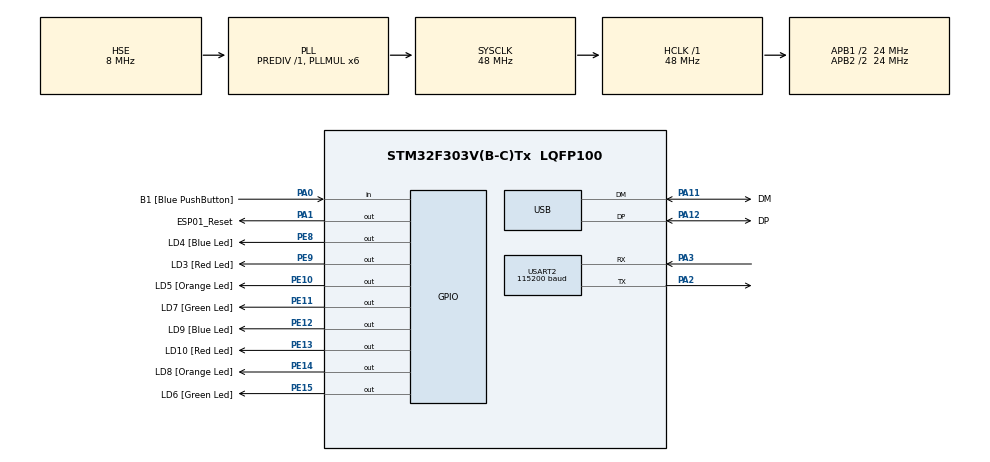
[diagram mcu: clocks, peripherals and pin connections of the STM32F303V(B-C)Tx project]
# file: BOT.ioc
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Mcu.Family=STM32F3
Mcu.Name=STM32F303V(B-C)Tx
Mcu.Package=LQFP100
NVIC.PriorityGroup=NVIC_PRIORITYGROUP_4
NVIC.USART2_IRQn=true\:0\:0\:false\:false\:true\:true
NVIC.USB_LP_CAN_RX0_IRQn=true\:0\:0\:false\:false\:true\:false
PA0.GPIO_Label=B1 [Blue PushButton]
PA0.GPIO_Mode=GPIO_MODE_INPUT
PA0.GPIO_PuPd=GPIO_NOPULL
PA0.Signal=GPIO_Input
PA1.GPIO_Label=ESP01_Reset
PA1.GPIO_PuPd=GPIO_PULLUP
PA1.PinState=GPIO_PIN_SET
PA1.Signal=GPIO_Output
PA11.GPIO_Label=DM
PA11.Mode=Device
PA11.Signal=USB_DM
PA12.GPIO_Label=DP
PA12.Mode=Device
PA12.Signal=USB_DP
PA13.GPIO_Label=SWDIO
PA13.Mode=Trace_Asynchronous_SW
PA13.Signal=SYS_JTMS-SWDIO
PA14.GPIO_Label=SWCLK
PA14.Mode=Trace_Asynchronous_SW
PA14.Signal=SYS_JTCK-SWCLK
PA2.Mode=Asynchronous
PA2.Signal=USART2_TX
PA3.Mode=Asynchronous
PA3.Signal=USART2_RX
PB3.GPIO_Label=SWO
PB3.Mode=Trace_Asynchronous_SW
PB3.Signal=SYS_JTDO-TRACESWO
PE10.GPIO_Label=LD5 [Orange Led]
PE10.GPIO_ModeDefaultOutputPP=GPIO_MODE_OUTPUT_PP
PE10.GPIO_PuPd=GPIO_NOPULL
PE10.GPIO_Speed=GPIO_SPEED_FREQ_LOW
PE10.Signal=GPIO_Output
PE11.GPIO_Label=LD7 [Green Led]
PE11.GPIO_ModeDefaultOutputPP=GPIO_MODE_OUTPUT_PP
PE11.GPIO_PuPd=GPIO_NOPULL
PE11.GPIO_Speed=GPIO_SPEED_FREQ_LOW
PE11.Signal=GPIO_Output
PE12.GPIO_Label=LD9 [Blue Led]
PE12.GPIO_ModeDefaultOutputPP=GPIO_MODE_OUTPUT_PP
PE12.GPIO_PuPd=GPIO_NOPULL
PE12.GPIO_Speed=GPIO_SPEED_FREQ_LOW
PE12.Signal=GPIO_Output
PE13.GPIO_Label=LD10 [Red Led]
PE13.GPIO_ModeDefaultOutputPP=GPIO_MODE_OUTPUT_PP
PE13.GPIO_PuPd=GPIO_NOPULL
PE13.GPIO_Speed=GPIO_SPEED_FREQ_LOW
PE13.Signal=GPIO_Output
PE14.GPIO_Label=LD8 [Orange Led]
PE14.GPIO_ModeDefaultOutputPP=GPIO_MODE_OUTPUT_PP
PE14.GPIO_PuPd=GPIO_NOPULL
PE14.GPIO_Speed=GPIO_SPEED_FREQ_LOW
PE14.Signal=GPIO_Output
PE15.GPIO_Label=LD6 [Green Led]
PE15.GPIO_ModeDefaultOutputPP=GPIO_MODE_OUTPUT_PP
PE15.GPIO_PuPd=GPIO_NOPULL
PE15.GPIO_Speed=GPIO_SPEED_FREQ_LOW
PE15.Signal=GPIO_Output
PE8.GPIO_Label=LD4 [Blue Led]
PE8.GPIO_ModeDefaultOutputPP=GPIO_MODE_OUTPUT_PP
PE8.GPIO_PuPd=GPIO_NOPULL
PE8.GPIO_Speed=GPIO_SPEED_FREQ_LOW
PE8.Signal=GPIO_Output
PE9.GPIO_Label=LD3 [Red Led]
PE9.GPIO_ModeDefaultOutputPP=GPIO_MODE_OUTPUT_PP
PE9.GPIO_PuPd=GPIO_NOPULL
PE9.GPIO_Speed=GPIO_SPEED_FREQ_LOW
PE9.Signal=GPIO_Output
PF0-OSC_IN.Mode=HSE-External-Oscillator
PF0-OSC_IN.Signal=RCC_OSC_IN
PF1-OSC_OUT.Mode=HSE-External-Oscillator
PF1-OSC_OUT.Signal=RCC_OSC_OUT
ProjectManager.HeapSize=0x200
ProjectManager.StackSize=0x400
ProjectManager.TargetToolchain=MDK-ARM V5
RCC.AHBFreq_Value=48000000
RCC.APB1CLKDivider=RCC_HCLK_DIV2
RCC.APB1Freq_Value=24000000
RCC.APB1TimFreq_Value=48000000
RCC.APB2CLKDivider=RCC_HCLK_DIV2
RCC.APB2Freq_Value=24000000
RCC.APB2TimFreq_Value=48000000
RCC.CortexFreq_Value=48000000
RCC.HCLKFreq_Value=48000000
RCC.HSE_Timout=400
RCC.HSE_VALUE=8000000
RCC.HSI_VALUE=8000000
RCC.LSE_VALUE=32768
RCC.PLLMUL=RCC_PLL_MUL6
RCC.SYSCLKFreq_VALUE=48000000
RCC.SYSCLKSourceVirtual=RCC_SYSCLKSOURCE_PLLCLK
RCC.USBFreq_Value=48000000
RCC.VDD_VALUE=3
USART2.AutoBaudRateEnableParam=UART_ADVFEATURE_AUTOBAUDRATE_DISABLE
USART2.BaudRate=115200
USART2.VirtualMode-Asynchronous=VM_ASYNC
USB_DEVICE.CLASS_NAME_FS=HID
USB_DEVICE.VirtualMode=Hid
USB_DEVICE.VirtualModeFS=Hid_FS
VP_USB_DEVICE_VS_USB_DEVICE_HID_FS.Mode=HID_FS
board=STM32F3DISCOVERY

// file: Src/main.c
/**
  ******************************************************************************
  * File Name          : main.c
  * Description        : Main program body
  ******************************************************************************
  * This notice applies to any and all portions of this file
  * that are not between comment pairs USER CODE BEGIN and
  * USER CODE END. Other portions of this file, whether
  * inserted by the user or by software development tools
  * are owned by their respective copyright owners.
  *
  * Copyright (c) 2017 STMicroelectronics International N.V.
  * All rights reserved.
  *
  * Redistribution and use in source and binary forms, with or without
  * modification, are permitted, provided that the following conditions are met:
  *
  * 1. Redistribution of source code must retain the above copyright notice,
  *    this list of conditions and the following disclaimer.
  * 2. Redistributions in binary form must reproduce the above copyright notice,
  *    this list of conditions and the following disclaimer in the documentation
  *    and/or other materials provided with the distribution.
  * 3. Neither the name of STMicroelectronics nor the names of other
  *    contributors to this software may be used to endorse or promote products
  *    derived from this software without specific written permission.
  * 4. This software, including modifications and/or derivative works of this
  *    software, must execute solely and exclusively on microcontroller or
  *    microprocessor devices manufactured by or for STMicroelectronics.
  * 5. Redistribution and use of this software other than as permitted under
  *    this license is void and will automatically terminate your rights under
  *    this license.
  *
  * THIS SOFTWARE IS PROVIDED BY STMICROELECTRONICS AND CONTRIBUTORS "AS IS"
  * AND ANY EXPRESS, IMPLIED OR STATUTORY WARRANTIES, INCLUDING, BUT NOT
  * LIMITED TO, THE IMPLIED WARRANTIES OF MERCHANTABILITY, FITNESS FOR A
  * PARTICULAR PURPOSE AND NON-INFRINGEMENT OF THIRD PARTY INTELLECTUAL PROPERTY
  * RIGHTS ARE DISCLAIMED TO THE FULLEST EXTENT PERMITTED BY LAW. IN NO EVENT
  * SHALL STMICROELECTRONICS OR CONTRIBUTORS BE LIABLE FOR ANY DIRECT, INDIRECT,
  * INCIDENTAL, SPECIAL, EXEMPLARY, OR CONSEQUENTIAL DAMAGES (INCLUDING, BUT NOT
  * LIMITED TO, PROCUREMENT OF SUBSTITUTE GOODS OR SERVICES; LOSS OF USE, DATA,
  * OR PROFITS; OR BUSINESS INTERRUPTION) HOWEVER CAUSED AND ON ANY THEORY OF
  * LIABILITY, WHETHER IN CONTRACT, STRICT LIABILITY, OR TORT (INCLUDING
  * NEGLIGENCE OR OTHERWISE) ARISING IN ANY WAY OUT OF THE USE OF THIS SOFTWARE,
  * EVEN IF ADVISED OF THE POSSIBILITY OF SUCH DAMAGE.
  *
  ******************************************************************************
  */
#include "main.h"
#include "stm32f3xx_hal.h"
#include "usb_device.h"

/* USER CODE BEGIN Includes */
#include "string.h"
#include "usbd_core.h"
#include "usbd_desc.h"
#include "usbd_hid.h"
#include "usbd_def.h"
#include "ESP01.h"
#include "Keyboard.h"
/* USER CODE END Includes */

UART_HandleTypeDef huart2;

/* USER CODE BEGIN PV */
/* Private variables ---------------------------------------------------------*/
#define ITM_Port8(n)    (*((volatile unsigned char *)(0xE0000000+4*n)))
#define ITM_Port16(n)   (*((volatile unsigned short*)(0xE0000000+4*n)))
#define ITM_Port32(n)   (*((volatile unsigned long *)(0xE0000000+4*n)))
#define DEMCR           (*((volatile unsigned long *)(0xE000EDFC)))
#define TRCENA          0x01000000

struct __FILE { int handle; /* Add whatever you need here */ };
FILE __stdout;
FILE __stdin;
int fputc(int ch, FILE *f)
   {
       if (DEMCR & TRCENA)
        {
            while (ITM_Port32(0) == 0);
            ITM_Port8(0) = ch;
        }
    return(ch);
    }

#ifdef __GNUC__
/* With GCC/RAISONANCE, small printf (option LD Linker->Libraries->Small printf
   set to 'Yes') calls __io_putchar() */
#define PUTCHAR_PROTOTYPE int __io_putchar(int ch)
#else
#define PUTCHAR_PROTOTYPE int fputc(int ch, FILE *f)
#endif /* __GNUC__ */

extern USBD_HandleTypeDef USBD_Device;
/* USER CODE END PV */

void SystemClock_Config(void);
static void MX_GPIO_Init(void);
static void MX_USART2_UART_Init(void);

/* USER CODE BEGIN PFP */
/* Private function prototypes -----------------------------------------------*/
void ALL_KEY_LED_OFF(void);
/* USER CODE END PFP */

int main(void)
{

  /* USER CODE BEGIN 1 */
  // HID Keyboard

  /* USER CODE END 1 */

  /* MCU Configuration----------------------------------------------------------*/

  /* Reset of all peripherals, Initializes the Flash interface and the Systick. */
  HAL_Init();

  /* Configure the system clock */
  SystemClock_Config();

  /* Initialize all configured peripherals */
  MX_GPIO_Init();
  MX_USART2_UART_Init();
  MX_USB_DEVICE_Init();

  /* USER CODE BEGIN 2 */
	printf("Start!\n");

	Keyboard_Init();
	ESP01_Init();
	HAL_GPIO_WritePin(LD3_GPIO_Port, LD3_Pin, GPIO_PIN_SET);
  /* USER CODE END 2 */

  /* Infinite loop */
  /* USER CODE BEGIN WHILE */

  while (1)
  {
//		for(;;)
//		{
//			USB_Send_Key(USB_HID_KEY_LEFTARROW);
//			HAL_Delay(1000);
//			USB_Send_Key(USB_HID_KEY_DOWNARROW);
//			HAL_Delay(1000);
//			USB_Send_Key(USB_HID_KEY_RIGHTARROW);
//			HAL_Delay(1000);
//		}
		//for(int i=0; i<sizeof(receive_str); i++) receive_str[i]=0;
		ESP01_Receive(" KEY","CONNECT\r\n");
		if(strstr(ESP01_Receive_Text,"CONNECT\r\n"))
			{
				//ESP01_Send_Response_OK();
			}
		else if(strstr(ESP01_Receive_Text,"FOLD KEY"))
			{
				ALL_KEY_LED_OFF();
				HAL_GPIO_WritePin(LD8_GPIO_Port, LD8_Pin, GPIO_PIN_SET);
				ESP01_Send_Response_OK();
				USB_Send_Key(USB_HID_KEY_LEFTARROW);
			}
		else if(strstr(ESP01_Receive_Text,"CALL KEY"))
			{
				ALL_KEY_LED_OFF();
				HAL_GPIO_WritePin(LD9_GPIO_Port, LD9_Pin, GPIO_PIN_SET);
				ESP01_Send_Response_OK();
				USB_Send_Key(USB_HID_KEY_DOWNARROW);
			}
				else if(strstr(ESP01_Receive_Text,"CHECK KEY"))
			{
				ALL_KEY_LED_OFF();
				HAL_GPIO_WritePin(LD9_GPIO_Port, LD9_Pin, GPIO_PIN_SET);
				ESP01_Send_Response_OK();
				USB_Send_Key(USB_HID_KEY_DOWNARROW);
			}
		else if(strstr(ESP01_Receive_Text,"RAISE KEY"))
			{
				ALL_KEY_LED_OFF();
				HAL_GPIO_WritePin(LD10_GPIO_Port, LD10_Pin, GPIO_PIN_SET);
				ESP01_Send_Response_OK();
				USB_Send_Key(USB_HID_KEY_RIGHTARROW);
			}
		else if(strstr(ESP01_Receive_Text,"LED OFF"))
			{
				HAL_GPIO_WritePin(LD7_GPIO_Port, LD7_Pin, GPIO_PIN_RESET);
				ESP01_Send_Response_OK();
			}
		else if(strstr(ESP01_Receive_Text,"LED ON"))
			{
				HAL_GPIO_WritePin(LD7_GPIO_Port, LD7_Pin, GPIO_PIN_SET);
				ESP01_Send_Response_OK();
			}
  /* USER CODE END WHILE */

  /* USER CODE BEGIN 3 */
    // Send HID report
		//USB_Send_Key(USB_HID_KEY_L);
  }
  /* USER CODE END 3 */

}

/** System Clock Configuration
*/
void SystemClock_Config(void)
{

  RCC_OscInitTypeDef RCC_OscInitStruct;
  RCC_ClkInitTypeDef RCC_ClkInitStruct;
  RCC_PeriphCLKInitTypeDef PeriphClkInit;

    /**Initializes the CPU, AHB and APB busses clocks
    */
  RCC_OscInitStruct.OscillatorType = RCC_OSCILLATORTYPE_HSE;
	RCC_OscInitStruct.HSEState = RCC_HSE_ON;
  RCC_OscInitStruct.HSEPredivValue = RCC_HSE_PREDIV_DIV1;
  RCC_OscInitStruct.HSIState = RCC_HSI_ON;
  RCC_OscInitStruct.PLL.PLLState = RCC_PLL_ON;
  RCC_OscInitStruct.PLL.PLLSource = RCC_PLLSOURCE_HSE;
  RCC_OscInitStruct.PLL.PLLMUL = RCC_PLL_MUL6;
  if (HAL_RCC_OscConfig(&RCC_OscInitStruct) != HAL_OK)
  {
    _Error_Handler(__FILE__, __LINE__);
  }

    /**Initializes the CPU, AHB and APB busses clocks
    */
  RCC_ClkInitStruct.ClockType = RCC_CLOCKTYPE_HCLK|RCC_CLOCKTYPE_SYSCLK
                              |RCC_CLOCKTYPE_PCLK1|RCC_CLOCKTYPE_PCLK2;
  RCC_ClkInitStruct.SYSCLKSource = RCC_SYSCLKSOURCE_PLLCLK;
  RCC_ClkInitStruct.AHBCLKDivider = RCC_SYSCLK_DIV1;
  RCC_ClkInitStruct.APB1CLKDivider = RCC_HCLK_DIV2;
  RCC_ClkInitStruct.APB2CLKDivider = RCC_HCLK_DIV2;

  if (HAL_RCC_ClockConfig(&RCC_ClkInitStruct, FLASH_LATENCY_1) != HAL_OK)
  {
    _Error_Handler(__FILE__, __LINE__);
  }

  PeriphClkInit.PeriphClockSelection = RCC_PERIPHCLK_USB|RCC_PERIPHCLK_USART2;
  PeriphClkInit.Usart2ClockSelection = RCC_USART2CLKSOURCE_PCLK1;
  PeriphClkInit.USBClockSelection = RCC_USBCLKSOURCE_PLL;
  if (HAL_RCCEx_PeriphCLKConfig(&PeriphClkInit) != HAL_OK)
  {
    _Error_Handler(__FILE__, __LINE__);
  }

    /**Configure the Systick interrupt time
    */
  HAL_SYSTICK_Config(HAL_RCC_GetHCLKFreq()/1000);

    /**Configure the Systick
    */
  HAL_SYSTICK_CLKSourceConfig(SYSTICK_CLKSOURCE_HCLK);

  /* SysTick_IRQn interrupt configuration */
  HAL_NVIC_SetPriority(SysTick_IRQn, 0, 0);
}

/* USART2 init function */
static void MX_USART2_UART_Init(void)
{

  huart2.Instance = USART2;
  huart2.Init.BaudRate = 115200;
  huart2.Init.WordLength = UART_WORDLENGTH_8B;
  huart2.Init.StopBits = UART_STOPBITS_1;
  huart2.Init.Parity = UART_PARITY_NONE;
  huart2.Init.Mode = UART_MODE_TX_RX;
  huart2.Init.HwFlowCtl = UART_HWCONTROL_NONE;
  huart2.Init.OverSampling = UART_OVERSAMPLING_16;
  huart2.Init.OneBitSampling = UART_ONE_BIT_SAMPLE_DISABLE;
  huart2.AdvancedInit.AdvFeatureInit = UART_ADVFEATURE_NO_INIT;
  if (HAL_UART_Init(&huart2) != HAL_OK)
  {
    _Error_Handler(__FILE__, __LINE__);
  }

}

/** Configure pins as
        * Analog
        * Input
        * Output
        * EVENT_OUT
        * EXTI
        * Free pins are configured automatically as Analog (this feature is enabled through
        * the Code Generation settings)
*/
static void MX_GPIO_Init(void)
{

  GPIO_InitTypeDef GPIO_InitStruct;

  /* GPIO Ports Clock Enable */
  __HAL_RCC_GPIOE_CLK_ENABLE();
  __HAL_RCC_GPIOC_CLK_ENABLE();
  __HAL_RCC_GPIOF_CLK_ENABLE();
  __HAL_RCC_GPIOA_CLK_ENABLE();
  __HAL_RCC_GPIOB_CLK_ENABLE();
  __HAL_RCC_GPIOD_CLK_ENABLE();

  /*Configure GPIO pin Output Level */
  HAL_GPIO_WritePin(ESP01_Reset_GPIO_Port, ESP01_Reset_Pin, GPIO_PIN_SET);

  /*Configure GPIO pin Output Level */
  HAL_GPIO_WritePin(GPIOE, LD4_Pin|LD3_Pin|LD5_Pin|LD7_Pin
                          |LD9_Pin|LD10_Pin|LD8_Pin|LD6_Pin, GPIO_PIN_RESET);

  /*Configure GPIO pins : PE2 PE3 PE4 PE5
                           PE6 PE7 PE0 PE1 */
  GPIO_InitStruct.Pin = GPIO_PIN_2|GPIO_PIN_3|GPIO_PIN_4|GPIO_PIN_5
                          |GPIO_PIN_6|GPIO_PIN_7|GPIO_PIN_0|GPIO_PIN_1;
  GPIO_InitStruct.Mode = GPIO_MODE_ANALOG;
  GPIO_InitStruct.Pull = GPIO_NOPULL;
  HAL_GPIO_Init(GPIOE, &GPIO_InitStruct);

  /*Configure GPIO pins : PC13 PC14 PC15 PC0
                           PC1 PC2 PC3 PC4
                           PC5 PC6 PC7 PC8
                           PC9 PC10 PC11 PC12 */
  GPIO_InitStruct.Pin = GPIO_PIN_13|GPIO_PIN_14|GPIO_PIN_15|GPIO_PIN_0
                          |GPIO_PIN_1|GPIO_PIN_2|GPIO_PIN_3|GPIO_PIN_4
                          |GPIO_PIN_5|GPIO_PIN_6|GPIO_PIN_7|GPIO_PIN_8
                          |GPIO_PIN_9|GPIO_PIN_10|GPIO_PIN_11|GPIO_PIN_12;
  GPIO_InitStruct.Mode = GPIO_MODE_ANALOG;
  GPIO_InitStruct.Pull = GPIO_NOPULL;
  HAL_GPIO_Init(GPIOC, &GPIO_InitStruct);

  /*Configure GPIO pins : PF9 PF10 PF2 PF4
                           PF6 */
  GPIO_InitStruct.Pin = GPIO_PIN_9|GPIO_PIN_10|GPIO_PIN_2|GPIO_PIN_4
                          |GPIO_PIN_6;
  GPIO_InitStruct.Mode = GPIO_MODE_ANALOG;
  GPIO_InitStruct.Pull = GPIO_NOPULL;
  HAL_GPIO_Init(GPIOF, &GPIO_InitStruct);

  /*Configure GPIO pin : B1_Pin */
  GPIO_InitStruct.Pin = B1_Pin;
  GPIO_InitStruct.Mode = GPIO_MODE_INPUT;
  GPIO_InitStruct.Pull = GPIO_NOPULL;
  HAL_GPIO_Init(B1_GPIO_Port, &GPIO_InitStruct);

  /*Configure GPIO pin : ESP01_Reset_Pin */
  GPIO_InitStruct.Pin = ESP01_Reset_Pin;
  GPIO_InitStruct.Mode = GPIO_MODE_OUTPUT_PP;
  GPIO_InitStruct.Pull = GPIO_PULLUP;
  GPIO_InitStruct.Speed = GPIO_SPEED_FREQ_LOW;
  HAL_GPIO_Init(ESP01_Reset_GPIO_Port, &GPIO_InitStruct);

  /*Configure GPIO pins : PA4 PA5 PA6 PA7
                           PA8 PA9 PA10 PA15 */
  GPIO_InitStruct.Pin = GPIO_PIN_4|GPIO_PIN_5|GPIO_PIN_6|GPIO_PIN_7
                          |GPIO_PIN_8|GPIO_PIN_9|GPIO_PIN_10|GPIO_PIN_15;
  GPIO_InitStruct.Mode = GPIO_MODE_ANALOG;
  GPIO_InitStruct.Pull = GPIO_NOPULL;
  HAL_GPIO_Init(GPIOA, &GPIO_InitStruct);

  /*Configure GPIO pins : PB0 PB1 PB2 PB10
                           PB11 PB12 PB13 PB14
                           PB15 PB4 PB5 PB6
                           PB7 PB8 PB9 */
  GPIO_InitStruct.Pin = GPIO_PIN_0|GPIO_PIN_1|GPIO_PIN_2|GPIO_PIN_10
                          |GPIO_PIN_11|GPIO_PIN_12|GPIO_PIN_13|GPIO_PIN_14
                          |GPIO_PIN_15|GPIO_PIN_4|GPIO_PIN_5|GPIO_PIN_6
                          |GPIO_PIN_7|GPIO_PIN_8|GPIO_PIN_9;
  GPIO_InitStruct.Mode = GPIO_MODE_ANALOG;
  GPIO_InitStruct.Pull = GPIO_NOPULL;
  HAL_GPIO_Init(GPIOB, &GPIO_InitStruct);

  /*Configure GPIO pins : LD4_Pin LD3_Pin LD5_Pin LD7_Pin
                           LD9_Pin LD10_Pin LD8_Pin LD6_Pin */
  GPIO_InitStruct.Pin = LD4_Pin|LD3_Pin|LD5_Pin|LD7_Pin
                          |LD9_Pin|LD10_Pin|LD8_Pin|LD6_Pin;
  GPIO_InitStruct.Mode = GPIO_MODE_OUTPUT_PP;
  GPIO_InitStruct.Pull = GPIO_NOPULL;
  GPIO_InitStruct.Speed = GPIO_SPEED_FREQ_LOW;
  HAL_GPIO_Init(GPIOE, &GPIO_InitStruct);

  /*Configure GPIO pins : PD8 PD9 PD10 PD11
                           PD12 PD13 PD14 PD15
                           PD0 PD1 PD2 PD3
                           PD4 PD5 PD6 PD7 */
  GPIO_InitStruct.Pin = GPIO_PIN_8|GPIO_PIN_9|GPIO_PIN_10|GPIO_PIN_11
                          |GPIO_PIN_12|GPIO_PIN_13|GPIO_PIN_14|GPIO_PIN_15
                          |GPIO_PIN_0|GPIO_PIN_1|GPIO_PIN_2|GPIO_PIN_3
                          |GPIO_PIN_4|GPIO_PIN_5|GPIO_PIN_6|GPIO_PIN_7;
  GPIO_InitStruct.Mode = GPIO_MODE_ANALOG;
  GPIO_InitStruct.Pull = GPIO_NOPULL;
  HAL_GPIO_Init(GPIOD, &GPIO_InitStruct);

}

/* USER CODE BEGIN 4 */
void ALL_KEY_LED_OFF(void){
HAL_GPIO_WritePin(LD7_GPIO_Port, LD7_Pin, GPIO_PIN_RESET);
HAL_GPIO_WritePin(LD8_GPIO_Port, LD8_Pin, GPIO_PIN_RESET);
HAL_GPIO_WritePin(LD9_GPIO_Port, LD9_Pin, GPIO_PIN_RESET);
HAL_GPIO_WritePin(LD10_GPIO_Port, LD10_Pin, GPIO_PIN_RESET);
}

/* USER CODE END 4 */

void _Error_Handler(char * file, int line)
{
  /* USER CODE BEGIN Error_Handler_Debug */
  /* User can add his own implementation to report the HAL error return state */
	assert_failed((uint8_t*)file, line);
  while(1)
  {
  }
  /* USER CODE END Error_Handler_Debug */
}

#ifdef USE_FULL_ASSERT

/**
   * @brief Reports the name of the source file and the source line number
   * where the assert_param error has occurred.
   * @param file: pointer to the source file name
   * @param line: assert_param error line source number
   * @retval None
   */
void assert_failed(uint8_t* file, uint32_t line)
{
  /* USER CODE BEGIN 6 */
  /* User can add his own implementation to report the file name and line number,*/
    printf("Wrong parameters value: file %s on line %d\r\n", file, line);
  /* USER CODE END 6 */

}

#endif

/************************ (C) COPYRIGHT STMicroelectronics *****END OF FILE****/
